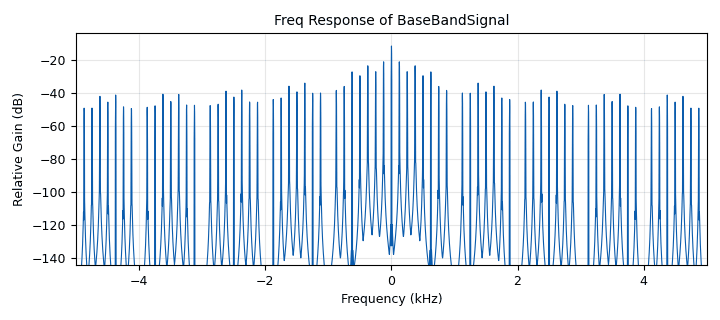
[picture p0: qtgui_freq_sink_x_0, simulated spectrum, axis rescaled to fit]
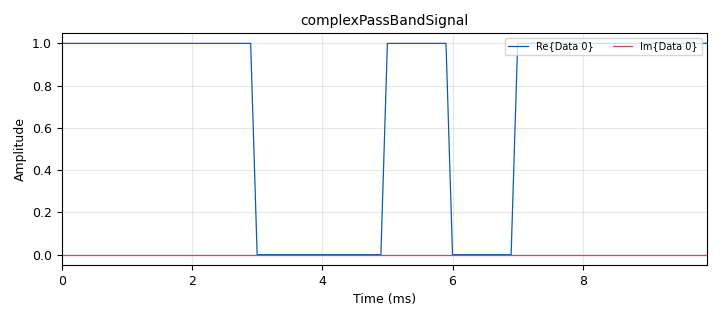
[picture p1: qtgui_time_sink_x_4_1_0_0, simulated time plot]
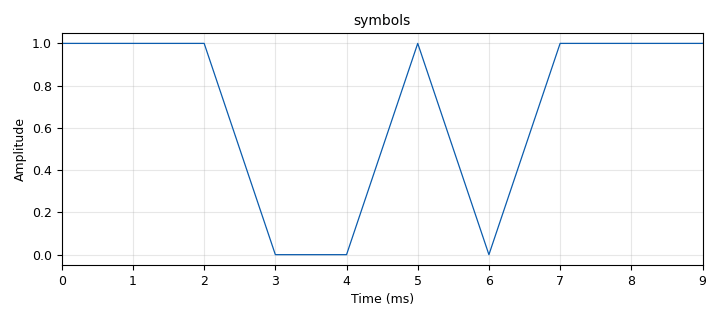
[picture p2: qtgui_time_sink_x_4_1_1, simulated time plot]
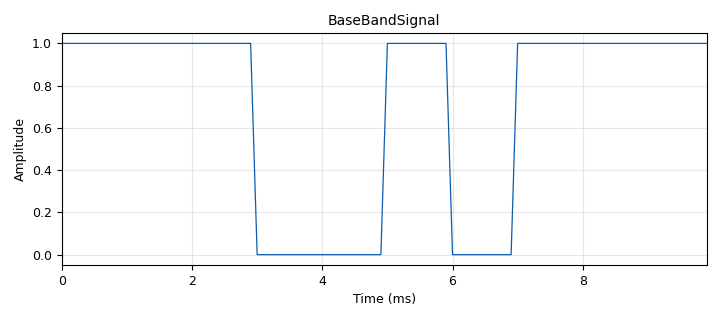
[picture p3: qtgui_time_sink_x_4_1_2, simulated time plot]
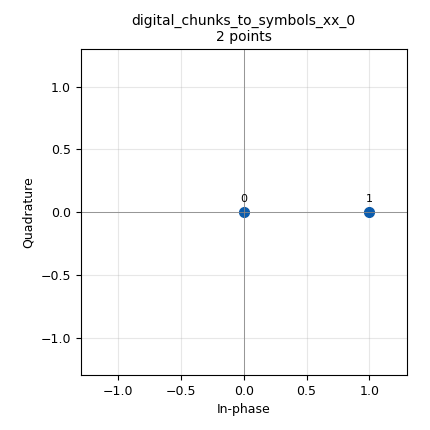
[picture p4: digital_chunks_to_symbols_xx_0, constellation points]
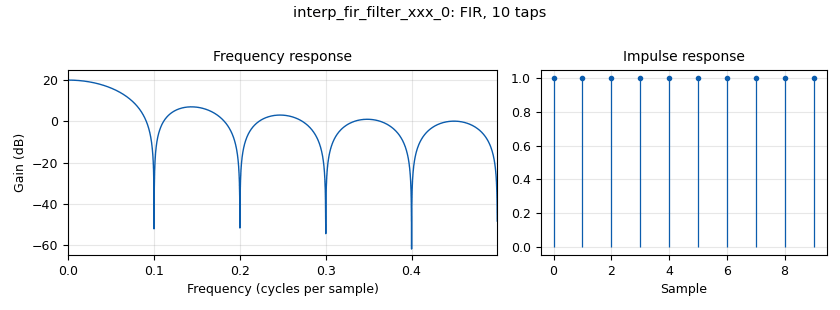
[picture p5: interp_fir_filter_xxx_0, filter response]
options:
  parameters:
    generate_options: qt_gui
    id: ASK_grFlowgraph
    output_language: python
    title: Not titled yet
  states: {}

blocks:
- name: Mhz
  id: variable
  parameters:
    value: 1000*1000
  states: {}
- name: RF_BW
  id: variable
  parameters:
    value: int(1.2*symbol_rate)
  states: {}
- name: fc
  id: variable
  parameters:
    value: '8000'
  states: {}
- name: interpolation_factor
  id: variable
  parameters:
    value: '10'
  states: {}
- name: numOfPoints
  id: variable
  parameters:
    value: 10*interpolation_factor
  states: {}
- name: samp_rate
  id: variable
  parameters:
    value: int(symbol_rate * interpolation_factor)
  states: {}
- name: symbol_rate
  id: variable
  parameters:
    value: '1000'
  states: {}
- name: analog_sig_source_x_0
  id: analog_sig_source_x
  parameters:
    amp: '1.414'
    freq: fc
    offset: '0'
    phase: '0'
    samp_rate: samp_rate
    type: float
    waveform: analog.GR_COS_WAVE
  states: {state: disabled}
- name: analog_sig_source_x_1
  id: analog_sig_source_x
  parameters:
    amp: '1'
    freq: '0'
    offset: '0'
    phase: '0'
    samp_rate: samp_rate
    type: complex
    waveform: analog.GR_COS_WAVE
  states: {}
- name: blocks_float_to_complex_0
  id: blocks_float_to_complex
  parameters: {}
  states: {}
- name: blocks_multiply_xx_0
  id: blocks_multiply_xx
  parameters:
    type: float
  states: {state: disabled}
- name: blocks_multiply_xx_1
  id: blocks_multiply_xx
  parameters:
    type: complex
  states: {}
- name: blocks_null_sink_0
  id: blocks_null_sink
  parameters:
    type: float
  states: {state: disabled}
- name: blocks_throttle2_0
  id: blocks_throttle2
  parameters:
    maximum: '2'
    samples_per_second: symbol_rate
    type: float
  states: {}
- name: blocks_vector_source_x_0
  id: blocks_vector_source_x
  parameters:
    repeat: 'True'
    type: byte
    vector: (1, 0, 0,1,0,1,1,1)
  states: {}
- name: digital_chunks_to_symbols_xx_0
  id: digital_chunks_to_symbols_xx
  parameters:
    dimension: '1'
    in_type: byte
    out_type: float
    symbol_table: '[0,1]'
  states: {}
- name: epy_block_0_0
  id: epy_block
  parameters:
    _source_code: |
      """
      Embedded Python Blocks:

      Each time this file is saved, GRC will instantiate the first class it finds
      to get ports and parameters of your block. The arguments to __init__  will
      be the parameters. All of them are required to have default values!
      """


      import numpy as np
      from gnuradio import gr

      class byte_display_block(gr.sync_block):
          def __init__(self):
              gr.sync_block.__init__(self,
                  name="Byte Display Block",
                  in_sig=[np.uint8],
                  out_sig=None)

          def work(self, input_items, output_items):
              for byte in input_items[0]:
                  print(f"Byte: {byte:08b}")  # Display as 8-bit binary
              return len(input_items[0])
  states: {state: disabled}
- name: iio_pluto_sink_0
  id: iio_pluto_sink
  parameters:
    attenuation1: '1.0'
    bandwidth: RF_BW
    buffer_size: '32768'
    cyclic: 'False'
    filter_source: '''Auto'''
    frequency: 915*Mhz
    samplerate: samp_rate
    type: fc32
  states: {state: disabled}
- name: iio_pluto_source_0
  id: iio_pluto_source
  parameters:
    bandwidth: RF_BW
    bbdc: 'True'
    buffer_size: '32768'
    filter_source: '''Auto'''
    frequency: 915*Mhz
    gain1: '''manual'''
    manual_gain1: '60'
    quadrature: 'True'
    rfdc: 'True'
    samplerate: samp_rate
    type: fc32
  states: {state: disabled}
- name: import_0
  id: import
  parameters:
    imports: import numpy
  states: {}
- name: interp_fir_filter_xxx_0
  id: interp_fir_filter_xxx
  parameters:
    interp: interpolation_factor
    taps: numpy.ones(interpolation_factor)
    type: fff
  states: {}
- name: qtgui_freq_sink_x_0
  id: qtgui_freq_sink_x
  parameters:
    average: '0.05'
    bw: samp_rate
    fc: '0'
    fftsize: 2048*2
    name: '"Freq Response of BaseBandSignal"'
    type: float
    update_time: 2000*2*2
    wintype: window.WIN_BLACKMAN
    ymin: '-14'
  states: {}
- name: qtgui_freq_sink_x_0_0
  id: qtgui_freq_sink_x
  parameters:
    bw: 4*fc
    fc: '0'
    fftsize: 1024*2
    name: '"Freq Response of PassBandSignal"'
    type: float
    update_time: '500'
  states: {state: disabled}
- name: qtgui_freq_sink_x_0_0_0
  id: qtgui_freq_sink_x
  parameters:
    bw: 4*fc
    fc: '0'
    fftsize: 1024*2
    name: '"Freq Response of complex PassBandSignal"'
    type: complex
    update_time: '500'
  states: {state: disabled}
- name: qtgui_time_sink_x_1_0_0
  id: qtgui_time_sink_x
  parameters:
    autoscale: 'True'
    grid: 'True'
    name: '"RXmodulated Signal"'
    size: numOfPoints
    srate: samp_rate
    type: complex
    update_time: '500'
    ymax: '2'
    ymin: '-2'
  states: {state: disabled}
- name: qtgui_time_sink_x_4_1
  id: qtgui_time_sink_x
  parameters:
    autoscale: 'True'
    grid: 'True'
    name: '"BaseBandSignal"'
    size: numOfPoints
    srate: samp_rate
    type: float
    update_time: 1*1000*4
  states: {state: disabled}
- name: qtgui_time_sink_x_4_1_0
  id: qtgui_time_sink_x
  parameters:
    autoscale: 'True'
    grid: 'True'
    name: '"PassBandSignal"'
    size: numOfPoints
    srate: samp_rate
    type: float
    update_time: '20'
  states: {state: disabled}
- name: qtgui_time_sink_x_4_1_0_0
  id: qtgui_time_sink_x
  parameters:
    autoscale: 'True'
    grid: 'True'
    name: '"complexPassBandSignal"'
    size: numOfPoints
    srate: samp_rate
    type: complex
    update_time: '20'
  states: {}
- name: qtgui_time_sink_x_4_1_1
  id: qtgui_time_sink_x
  parameters:
    autoscale: 'True'
    grid: 'True'
    name: '"symbols"'
    size: '10'
    srate: symbol_rate
    type: float
    update_time: '10'
  states: {}
- name: qtgui_time_sink_x_4_1_2
  id: qtgui_time_sink_x
  parameters:
    autoscale: 'True'
    grid: 'True'
    name: '"BaseBandSignal"'
    size: numOfPoints
    srate: samp_rate
    type: float
    update_time: '1000'
  states: {}
- name: virtual_sink_1
  id: virtual_sink
  parameters:
    stream_id: BaseBand_AskSignal
  states: {}
- name: virtual_sink_1_0
  id: virtual_sink
  parameters:
    stream_id: Passband_ASKsignal
  states: {state: disabled}
- name: virtual_source_1
  id: virtual_source
  parameters:
    stream_id: BaseBand_AskSignal
  states: {}
- name: virtual_source_1_0
  id: virtual_source
  parameters:
    stream_id: BaseBand_AskSignal
  states: {}
- name: virtual_source_1_0_0
  id: virtual_source
  parameters:
    stream_id: Passband_ASKsignal
  states: {state: disabled}

connections:
- [analog_sig_source_x_0, '0', blocks_multiply_xx_0, '1']
- [analog_sig_source_x_1, '0', blocks_multiply_xx_1, '0']
- [blocks_float_to_complex_0, '0', blocks_multiply_xx_1, '1']
- [blocks_multiply_xx_0, '0', virtual_sink_1_0, '0']
- [blocks_multiply_xx_1, '0', iio_pluto_sink_0, '0']
- [blocks_multiply_xx_1, '0', qtgui_freq_sink_x_0_0_0, '0']
- [blocks_multiply_xx_1, '0', qtgui_time_sink_x_4_1_0_0, '0']
- [blocks_throttle2_0, '0', interp_fir_filter_xxx_0, '0']
- [blocks_throttle2_0, '0', qtgui_time_sink_x_4_1_1, '0']
- [blocks_vector_source_x_0, '0', digital_chunks_to_symbols_xx_0, '0']
- [blocks_vector_source_x_0, '0', epy_block_0_0, '0']
- [digital_chunks_to_symbols_xx_0, '0', blocks_throttle2_0, '0']
- [iio_pluto_source_0, '0', qtgui_time_sink_x_1_0_0, '0']
- [interp_fir_filter_xxx_0, '0', blocks_null_sink_0, '0']
- [interp_fir_filter_xxx_0, '0', qtgui_time_sink_x_4_1_2, '0']
- [interp_fir_filter_xxx_0, '0', virtual_sink_1, '0']
- [virtual_source_1, '0', qtgui_freq_sink_x_0, '0']
- [virtual_source_1, '0', qtgui_time_sink_x_4_1, '0']
- [virtual_source_1_0, '0', blocks_float_to_complex_0, '0']
- [virtual_source_1_0, '0', blocks_multiply_xx_0, '0']
- [virtual_source_1_0_0, '0', qtgui_freq_sink_x_0_0, '0']
- [virtual_source_1_0_0, '0', qtgui_time_sink_x_4_1_0, '0']

metadata:
  file_format: 1
  grc_version: 3.10.11.0
